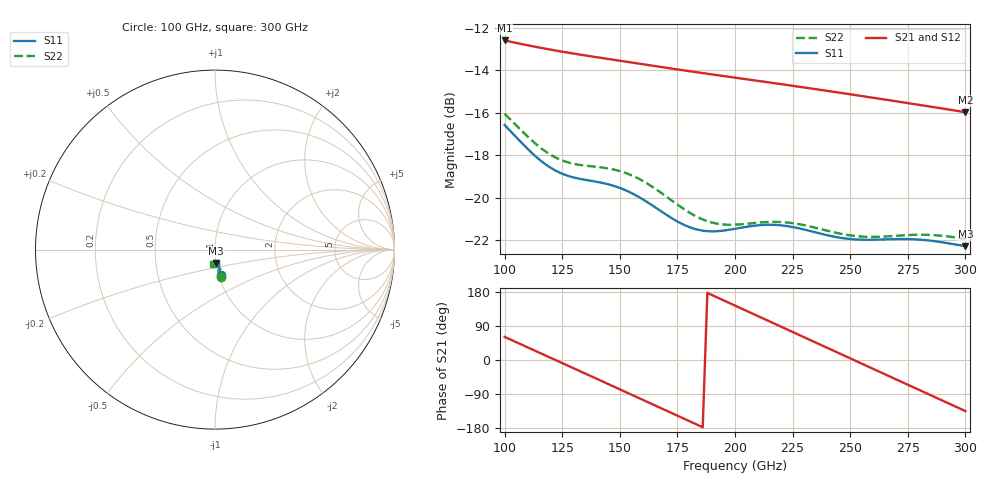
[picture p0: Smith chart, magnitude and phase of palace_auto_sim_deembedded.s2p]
! Created with skrf 1.11.0 (http://scikit-rf.org).
# GHz S DB R 50.0
!freq dBS11 angS11 dBS21 angS21 dBS12 angS12 dBS22 angS22
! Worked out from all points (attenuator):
!   101 points, 100 GHz to 300 GHz, reference 50 ohm
!   highest |S21| = -12.60 dB at 100 GHz (marker M1); lowest = -16.0 dB at 300 GHz (marker M2)
!   lowest |S11| = -22.3 dB at 300 GHz (marker M3), VSWR 1.17, Z = 50.1 - j7.73 ohm
!   |S11| at or under -10 dB: start of sweep to end of sweep
!   |S22| runs from -21.9 to -16.0 dB; largest |S21 - S12| = 1.9e-13
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100  -16.57 -76.4  -12.60 60.9  -12.60 60.9  -16.04 -78.5
110  -17.70 -77.7  -12.83 33.3  -12.83 33.3  -17.12 -80.6
118  -18.44 -76.9  -12.99 11.2  -12.99 11.2  -17.84 -80.4
126  -18.91 -75.5  -13.14 -10.9  -13.14 -10.9  -18.28 -79.5
134  -19.13 -74.7  -13.29 -33.0  -13.29 -33.0  -18.47 -79.2
144  -19.33 -75.7  -13.45 -60.7  -13.45 -60.7  -18.60 -80.9
152  -19.62 -77.5  -13.59 -83.0  -13.59 -83.0  -18.81 -83.5
160  -20.07 -79.1  -13.72 -105.2  -13.72 -105.2  -19.20 -86.3
168  -20.63 -79.6  -13.85 -127.4  -13.85 -127.4  -19.77 -88.4
176  -21.17 -78.7  -13.98 -149.7  -13.98 -149.7  -20.39 -89.0
184  -21.50 -76.7  -14.10 -171.9  -14.10 -171.9  -20.91 -88.2
192  -21.57 -74.7  -14.23 165.9  -14.23 165.9  -21.21 -86.6
200  -21.45 -73.8  -14.35 143.6  -14.35 143.6  -21.26 -85.3
210  -21.29 -74.6  -14.50 115.8  -14.50 115.8  -21.16 -85.5
218  -21.27 -76.1  -14.62 93.5  -14.62 93.5  -21.13 -86.7
226  -21.39 -77.8  -14.75 71.2  -14.75 71.2  -21.20 -88.5
234  -21.59 -78.9  -14.87 48.9  -14.87 48.9  -21.38 -90.0
250  -21.93 -79.4  -15.13 4.3  -15.13 4.3  -21.76 -91.3
258  -21.97 -79.5  -15.26 -17.9  -15.26 -17.9  -21.83 -91.5
268  -21.94 -80.3  -15.43 -45.8  -15.43 -45.8  -21.80 -92.3
284  -22.00 -82.9  -15.70 -90.3  -15.70 -90.3  -21.74 -95.4
300  -22.27 -85.1  -15.97 -134.8  -15.97 -134.8  -21.93 -99.2
